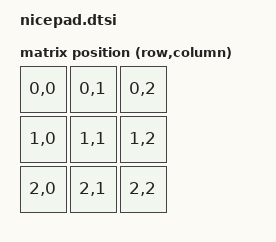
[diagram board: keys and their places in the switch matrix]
/*
 * Copyright (c) 2020 Pete Johanson
 *
 * SPDX-License-Identifier: MIT
 */
#include <dt-bindings/led/led.h>
#include <dt-bindings/zmk/matrix_transform.h>
#include "nicepad-layouts.dtsi"
/ {
	chosen {
		zephyr,display = &oled;
		zmk,kscan = &kscan0;
		zmk,physical-layout = &layout_0;
	};

	default_transform: keymap_transform_0 {
		compatible = "zmk,matrix-transform";
		columns = <3>;
		rows = <3>;
        // | SW10 |      |      |
        // | SW9  | SW8  | SW7  |
        // | SW6  | SW5  | SW4  |
        // | SW3  | SW2  | SW1  |
		map = <
    RC(0,0) RC(0,1) RC(0,2) 
    RC(1,0) RC(1,1) RC(1,2)
    RC(2,0) RC(2,1) RC(2,2)
		>;
	};

//	 kscan0: kscan {
//        compatible = "zmk,kscan-gpio-matrix";
//        label = "KSCAN";
//
//        diode-direction = "col2row";
//		row-gpios
//			= <&pro_micro 4 (GPIO_ACTIVE_HIGH | GPIO_PULL_DOWN)>
//			, <&pro_micro 5 (GPIO_ACTIVE_HIGH | GPIO_PULL_DOWN)>
//			, <&pro_micro 6 (GPIO_ACTIVE_HIGH | GPIO_PULL_DOWN)>
//			, <&pro_micro 7 (GPIO_ACTIVE_HIGH | GPIO_PULL_DOWN)>
//			;
    };
};
// oled,I2c
&pinctrl {
       i2c0_default: i2c0_default {
               group1 {
                       psels = <NRF_PSEL(TWIM_SDA, 0, 17)>,
                               <NRF_PSEL(TWIM_SCL, 0, 20)>;
               };
       };

       i2c0_sleep: i2c0_sleep {
               group1 {
                       psels = <NRF_PSEL(TWIM_SDA, 0, 17)>,
                               <NRF_PSEL(TWIM_SCL, 0, 20)>;
                       low-power-enable;
               };
       };
};


&pro_micro_i2c {
    status = "okay";

    oled: ssd1306@3c {
        compatible = "solomon,ssd1306fb";
        reg = <0x3c>;
        width = <128>;
        height = <32>;
        segment-offset = <0>;
        page-offset = <0>;
        display-offset = <0>;
        multiplex-ratio = <31>;
        segment-remap;
        com-invdir;
        com-sequential;
        inversion-on;
        prechargep = <0x22>;
    };
};
